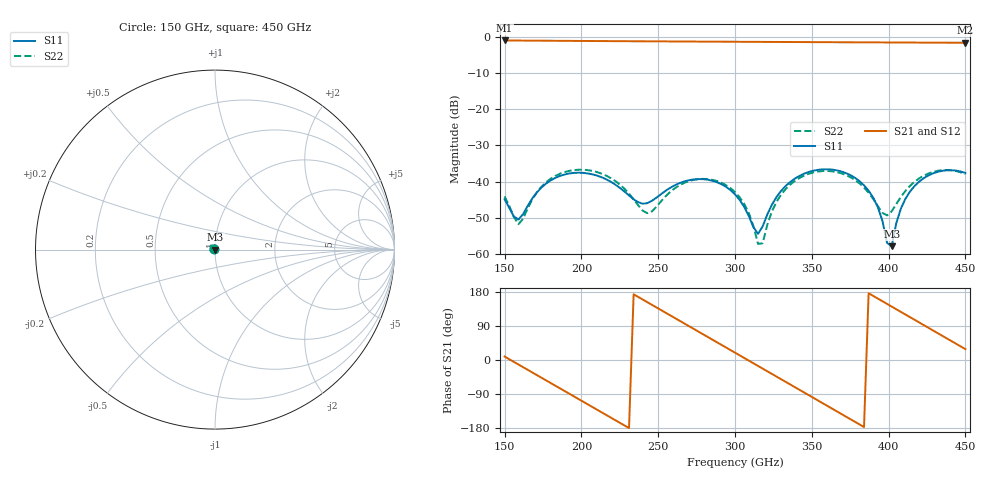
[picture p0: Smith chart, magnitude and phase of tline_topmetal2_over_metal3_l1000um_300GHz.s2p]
#  GHZ S DB R 50
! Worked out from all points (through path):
!   101 points, 150 GHz to 450 GHz, reference 50 ohm
!   highest |S21| = -0.94 dB at 150 GHz (marker M1); lowest = -1.6 dB at 450 GHz (marker M2)
!   group delay of S21, straight-line fit = 6.49 ps
!   lowest |S11| = -57.9 dB at 402 GHz (marker M3), VSWR 1.00, Z = 50.1 - j0.0971 ohm
!   |S11| at or under -10 dB: start of sweep to end of sweep
!   |S22| runs from -57.2 to -36.7 dB; largest |S21 - S12| = 9.8e-14
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150  -44.87 136.7  -0.94 9.1  -0.94 9.1  -44.09 144.5
159  -50.50 48.1  -0.97 -11.8  -0.97 -11.8  -51.79 57.9
183  -38.98 -89.9  -1.03 -67.8  -1.03 -67.8  -38.43 -89.5
201  -37.58 -147.3  -1.08 -109.7  -1.08 -109.7  -36.72 -143.9
228  -42.75 112.0  -1.15 -172.6  -1.15 -172.6  -41.97 126.7
243  -45.95 9.9  -1.18 152.4  -1.18 152.4  -48.75 23.8
252  -43.41 -47.4  -1.20 131.4  -1.20 131.4  -45.38 -49.9
276  -39.30 -139.3  -1.25 75.4  -1.25 75.4  -39.32 -141.2
300  -43.52 142.2  -1.30 19.4  -1.30 19.4  -42.90 146.1
309  -49.54 98.9  -1.32 -1.7  -1.32 -1.7  -48.70 112.0
315  -54.48 25.7  -1.33 -15.7  -1.33 -15.7  -57.23 54.9
318  -52.40 -19.6  -1.34 -22.7  -1.34 -22.7  -57.06 -16.1
330  -42.58 -89.5  -1.36 -50.7  -1.36 -50.7  -43.61 -95.8
351  -36.98 -153.2  -1.40 -99.8  -1.40 -99.8  -37.47 -158.3
369  -37.17 157.5  -1.44 -141.8  -1.44 -141.8  -37.68 150.2
384  -41.03 115.7  -1.47 -176.9  -1.47 -176.9  -41.63 100.7
396  -50.91 70.0  -1.49 155.0  -1.49 155.0  -48.65 26.1
402  -57.87 -49.3  -1.50 141.0  -1.50 141.0  -48.22 -41.5
408  -47.47 -104.9  -1.51 127.0  -1.51 127.0  -44.24 -84.8
417  -41.18 -135.0  -1.53 105.9  -1.53 105.9  -40.00 -122.4
432  -37.29 -175.2  -1.55 70.8  -1.55 70.8  -37.01 -168.9
450  -37.61 139.9  -1.59 28.6  -1.59 28.6  -37.95 139.4
